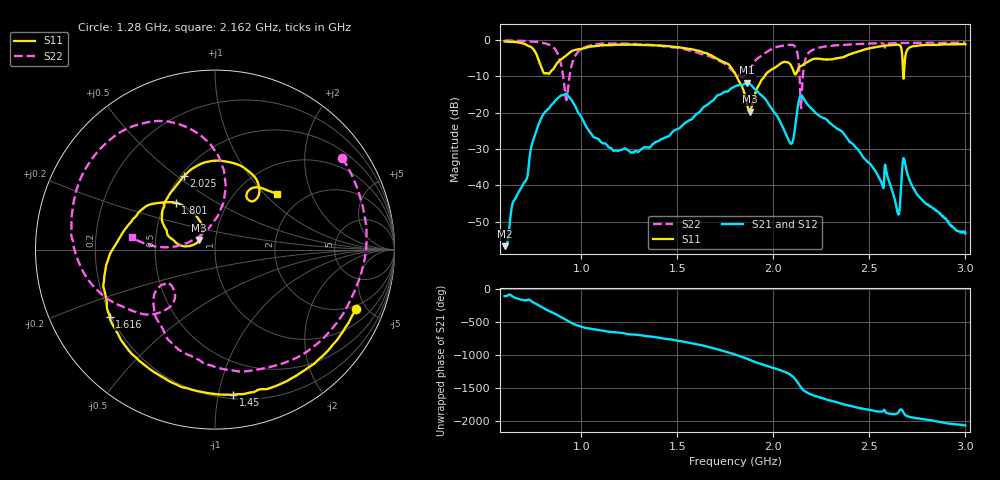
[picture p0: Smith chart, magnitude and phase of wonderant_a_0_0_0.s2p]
#  HZ  S  RI  R  50.00
! Rohde & Schwarz ZVB8 2Ports - Version 2.81 - 1145.1010k08 SN: 100113
! Date: 2016-05-17 22:36:56
! Measurements: S11 S21 S12 S22
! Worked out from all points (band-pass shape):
!   1000 points, 600 MHz to 3 GHz, reference 50 ohm
!   highest |S21| = -11.78 dB at 1.864 GHz (marker M1); lowest = -56.6 dB at 600 MHz (marker M2)
!   |S21| within 3 dB of the highest: 1.732 GHz to 1.926 GHz (194.2 MHz wide, 10.6 % of centre)
!   lowest |S11| = -19.7 dB at 1.878 GHz (marker M3), VSWR 1.23, Z = 41.7 + j4.57 ohm
!   |S11| at or under -10 dB: 1.807 GHz to 1.955 GHz (147.4 MHz wide, 7.83 % of centre); 2.676945 GHz to 2.678983 GHz (2.038 MHz wide, 0.0761 % of centre)
!   |S22| runs from -18.8 to -0.2 dB; largest |S21 - S12| = 0.002
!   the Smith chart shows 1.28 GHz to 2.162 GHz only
!   S11 on the Smith chart (normalised r, x): 1.28 GHz: 1.75, -4.23; 1.45 GHz: 0.23, -1.11; 1.616 GHz: 0.19, -0.28; 1.801 GHz: 0.57, +0.34; 2.025 GHz: 0.52, +0.53; 2.162 GHz: 1.50, +1.19
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6e8  -0.8127 0.4833  -0.000595 -0.00135  -0.000655 -0.00141  -0.9471 0.2329
7.681682e8  0.1451 0.5932  -0.0327 0.049  -0.033 0.0489  -0.472 0.8016
8.858859e8  -0.1481 0.4946  0.0927 -0.1366  0.0931 -0.1364  0.3776 0.4003
9.315315e8  -0.0718 0.6377  -0.1135 -0.124  -0.1124 -0.1246  -0.1498 -0.1694
1.001201e9  0.244 0.7082  -0.0684 0.0502  -0.0686 0.0499  -0.5307 0.5247
1.118919e9  0.7135 0.4404  0.00446 0.0377  0.00451 0.0378  0.0433 0.8815
1.27988e9  0.784 -0.3322  0.027 0.0123  0.027 0.0125  0.7098 0.5082
1.4e9  0.3625 -0.7502  0.0383 -0.0136  0.0384 -0.0135  0.8244 -0.0948
1.45045e9  0.1007 -0.8083  0.0351 -0.0313  0.0352 -0.0312  0.7254 -0.3379
1.616216e9  -0.5872 -0.3756  -0.0624 -0.0813  -0.0623 -0.0814  -0.015 -0.6478
1.801201e9  -0.2196 0.2615  0.021 0.2285  0.0198 0.2285  -0.2894 -0.1948
1.863664e9  -0.0692 0.1083  0.2411 0.0907  0.2407 0.0922  -0.2244 -0.2423
1.878078e9  -0.0879 0.0542  0.246 0.00663  0.2458 0.00736  -0.2359 -0.3011
2.024625e9  -0.1736 0.4082  -0.0644 -0.055  -0.0645 -0.0552  -0.8012 0.0789
2.113514e9  0.1922 0.2723  0.0155 0.0621  0.0151 0.0621  -0.3667 0.7118
2.161562e9  0.3476 0.3097  -0.035 -0.1456  -0.0347 -0.1453  -0.4646 0.0724
2.2e9  0.5062 0.1678  -0.1059 -0.0366  -0.1059 -0.0371  -0.5731 0.4244
2.375375e9  0.3353 -0.4919  0.0323 0.0348  0.0322 0.0352  0.0416 0.8515
2.601201e9  -0.5637 -0.6198  0.00113 -0.0116  0.00119 -0.0116  0.7518 0.4688
2.649249e9  -0.7649 -0.3759  0.00141 -0.00386  0.00142 -0.00384  0.8449 0.3051
2.682883e9  -0.2931 -0.353  -0.00175 -0.0218  -0.00149 -0.0219  0.882 0.1861
3e9  -0.6556 0.5661  -0.000236 0.00218  -0.000201 0.00227  0.5453 -0.7318
